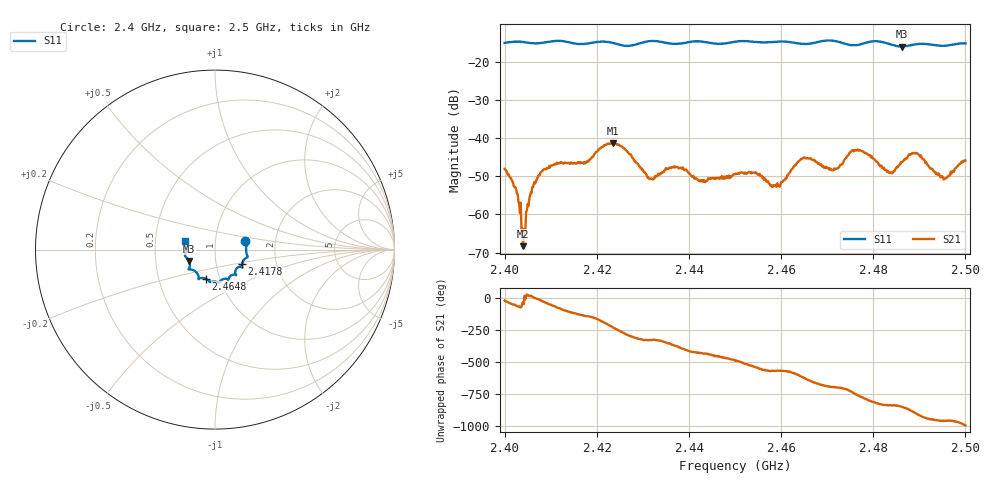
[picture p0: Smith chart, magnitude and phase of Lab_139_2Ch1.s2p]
# Hz S RI R 50
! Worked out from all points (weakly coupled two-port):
!   601 points, 2.4 GHz to 2.5 GHz, reference 50 ohm
!   highest |S21| = -41.28 dB at 2.4235 GHz (marker M1); lowest = -68.3 dB at 2.404 GHz (marker M2)
!   lowest |S11| = -16.1 dB at 2.4862 GHz (marker M3), VSWR 1.37, Z = 37.2 - j4.82 ohm
!   |S11| at or under -10 dB: start of sweep to end of sweep
!   S12 and S22 are empty: the file has one direction only
!   S11 on the Smith chart (normalised r, x): 2.4 GHz: 1.40, +0.14; 2.4178 GHz: 1.33, -0.22; 2.4648 GHz: 0.86, -0.29; 2.5 GHz: 0.71, +0.07
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2.4e9  0.1688 0.0471  0.00362 -0.00154  0 0  0 0
2.402333e9  0.1794 0.0358  0.00126 -0.00189  0 0  0 0
2.404e9  0.1787 0.0275  0.000311 -0.000225  0 0  0 0
2.406e9  0.1736 0.0084  0.00226 0.000284  0 0  0 0
2.408e9  0.1745 -0.0159  0.00328 -0.00156  0 0  0 0
2.416667e9  0.1546 -0.0682  -0.00342 -0.00323  0 0  0 0
2.417833e9  0.1507 -0.0815  -0.00395 -0.00291  0 0  0 0
2.4235e9  0.1466 -0.0958  -0.00541 0.00672  0 0  0 0
2.431333e9  0.1175 -0.1424  0.00256 0.00144  0 0  0 0
2.433333e9  0.1175 -0.1409  0.00304 0.00154  0 0  0 0
2.437e9  0.0908 -0.1436  0.00402 -0.000924  0 0  0 0
2.45e9  0.026 -0.1799  -0.0021 -0.00262  0 0  0 0
2.459333e9  -0.0245 -0.1808  -0.00212 0.00107  0 0  0 0
2.464833e9  -0.0507 -0.1622  -0.000895 0.00545  0 0  0 0
2.466667e9  -0.0712 -0.1576  0.00181 0.00486  0 0  0 0
2.4715e9  -0.0909 -0.163  0.00362 0.0017  0 0  0 0
2.477e9  -0.1215 -0.1139  0.00508 -0.00476  0 0  0 0
2.483333e9  -0.1411 -0.0966  -0.00156 -0.00317  0 0  0 0
2.486167e9  -0.1438 -0.0632  -0.00288 -0.00384  0 0  0 0
2.489333e9  -0.1637 -0.0395  -0.00632 8.52e-06  0 0  0 0
2.495667e9  -0.1605 0.0118  -0.00161 0.00249  0 0  0 0
2.5e9  -0.1664 0.047  0.000177 0.00506  0 0  0 0
